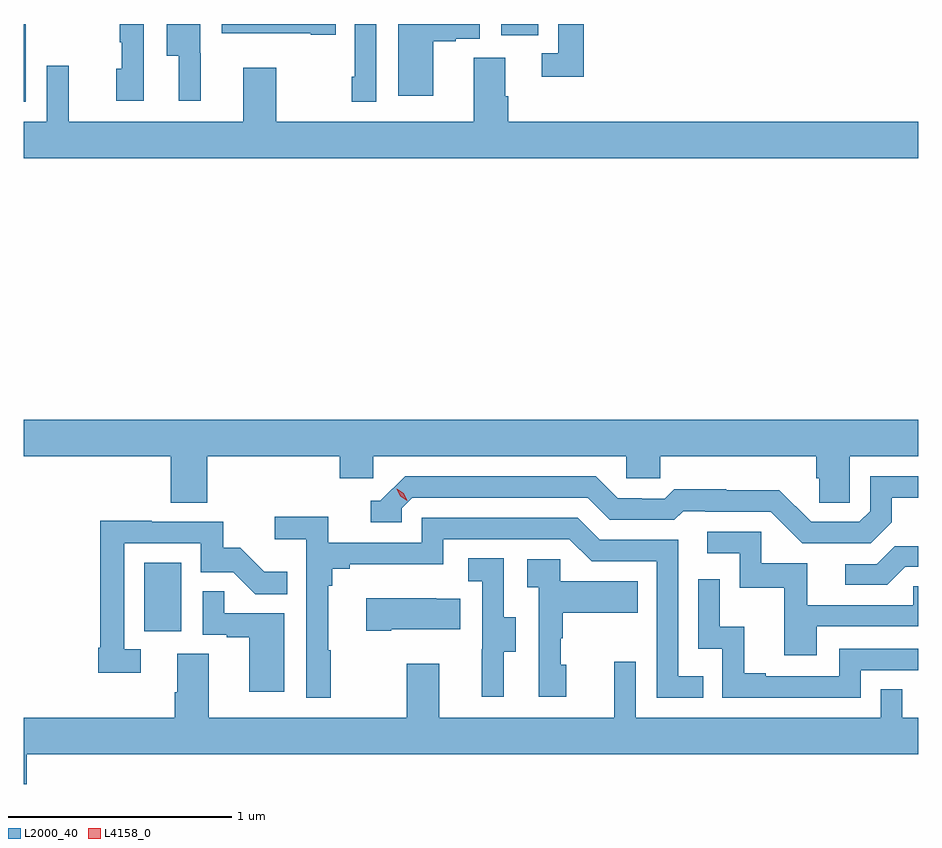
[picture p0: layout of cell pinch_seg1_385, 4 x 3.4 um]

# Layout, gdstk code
import gdstk
lib = gdstk.Library(unit=1e-6, precision=1e-09)
def R(c, l, rs):  # rectangles x0, y0, x1, y1
    for r in rs: c.add(gdstk.rectangle(r[:2], r[2:], *l))
def P(c, l, *ps):  # polygons
    for p in ps: c.add(gdstk.Polygon(p, *l))
L2000_40 = (2000, 40)
L4158_0 = (4158, 0)

pinch_seg1_385 = lib.new_cell('pinch_seg1_385')
R(pinch_seg1_385, L2000_40, [(986.276,532.302,986.44,532.609), (985.736,534.669,985.746,535.016), (987.872,534.966,988.036,535.016)])
P(pinch_seg1_385, L2000_40, [(986.274,535.016),(986.166,535.016),(986.166,534.935),(986.176,534.935),(986.176,534.816),(986.15,534.816),(986.15,534.672),(986.274,534.672)],
  [(986.528,534.885),(986.526,534.885),(986.526,535.016),(986.375,535.016),(986.375,534.874),(986.429,534.874),(986.429,534.672),(986.528,534.672)],
  [(987.131,535.016),(986.623,535.016),(986.623,534.974),(987.02,534.974),(987.02,534.967),(987.131,534.967)],
  [(987.568,534.939),(987.668,534.939),(987.668,534.951),(987.774,534.951),(987.774,535.016),(987.41,535.016),(987.41,534.696),(987.568,534.696)],
  [(987.312,535.016),(987.216,535.016),(987.216,534.781),(987.204,534.781),(987.204,534.669),(987.312,534.669)],
  [(988.241,535.016),(988.125,535.016),(988.125,534.885),(988.053,534.885),(988.053,534.78),(988.241,534.78)],
  [(989.736,534.58),(987.902,534.58),(987.902,534.692),(987.889,534.692),(987.889,534.866),(987.749,534.866),(987.749,534.58),(986.865,534.58),(986.865,534.82),(986.717,534.82),(986.717,534.58),(985.937,534.58),(985.937,534.829),(985.839,534.829),(985.839,534.58),(985.736,534.58),(985.736,534.416),(989.736,534.416)],
  [(986.558,533.084),(987.149,533.084),(987.149,532.986),(987.3,532.986),(987.3,533.084),(988.431,533.084),(988.431,532.986),(988.581,532.986),(988.581,533.084),(989.279,533.084),(989.279,532.986),(989.293,532.986),(989.293,532.876),(989.43,532.876),(989.43,533.084),(989.736,533.084),(989.736,533.248),(985.736,533.248),(985.736,533.084),(986.393,533.084),(986.393,532.876),(986.558,532.876)],
  [(989.617,532.789),(989.617,532.899),(989.736,532.899),(989.736,532.995),(989.52,532.995),(989.52,532.839),(989.472,532.791),(989.256,532.791),(989.114,532.933),(988.878,532.933),(988.878,532.936),(988.645,532.936),(988.603,532.893),(988.5,532.893),(988.5,532.896),(988.393,532.896),(988.294,532.995),(987.441,532.995),(987.33,532.884),(987.287,532.884),(987.287,532.788),(987.426,532.788),(987.426,532.851),(987.474,532.899),(988.257,532.899),(988.356,532.8),(988.645,532.8),(988.684,532.839),(988.783,532.839),(988.783,532.836),(989.076,532.836),(989.217,532.695),(989.523,532.695)],
  [(987.109,532.217),(987.097,532.217),(987.097,532.505),(987.116,532.505),(987.116,532.582),(987.193,532.582),(987.193,532.601),(987.612,532.601),(987.612,532.713),(988.176,532.713),(988.275,532.614),(988.566,532.614),(988.566,532.005),(988.775,532.005),(988.775,532.101),(988.662,532.101),(988.662,532.71),(988.312,532.71),(988.213,532.809),(987.516,532.809),(987.516,532.698),(987.098,532.698),(987.098,532.814),(986.859,532.814),(986.859,532.712),(987,532.712),(987,532.005),(987.109,532.005)],
  [(986.26,532.221),(986.187,532.221),(986.187,532.695),(986.529,532.695),(986.529,532.566),(986.673,532.566),(986.771,532.468),(986.915,532.468),(986.915,532.567),(986.811,532.567),(986.704,532.674),(986.628,532.674),(986.628,532.791),(986.309,532.791),(986.309,532.796),(986.079,532.796),(986.079,532.228),(986.071,532.228),(986.071,532.116),(986.26,532.116)],
  [(989.281,532.323),(989.736,532.323),(989.736,532.503),(989.713,532.503),(989.713,532.419),(989.239,532.419),(989.239,532.605),(989.034,532.605),(989.034,532.746),(988.791,532.746),(988.791,532.65),(988.938,532.65),(988.938,532.497),(989.137,532.497),(989.137,532.194),(989.281,532.194)],
  [(989.677,532.59),(989.736,532.59),(989.736,532.682),(989.63,532.682),(989.55,532.602),(989.409,532.602),(989.409,532.509),(989.596,532.509)],
  [(987.883,532.21),(987.937,532.21),(987.937,532.365),(987.882,532.365),(987.882,532.628),(987.723,532.628),(987.723,532.525),(987.786,532.525),(987.786,532.221),(987.785,532.221),(987.785,532.008),(987.883,532.008)],
  [(988.162,532.152),(988.137,532.152),(988.137,532.271),(988.147,532.271),(988.147,532.385),(988.481,532.385),(988.481,532.525),(988.134,532.525),(988.134,532.623),(987.987,532.623),(987.987,532.499),(988.038,532.499),(988.038,532.008),(988.162,532.008)],
  [(989.478,532.128),(989.736,532.128),(989.736,532.224),(989.382,532.224),(989.382,532.101),(989.053,532.101),(989.053,532.114),(988.958,532.114),(988.958,532.322),(988.848,532.322),(988.848,532.534),(988.752,532.534),(988.752,532.224),(988.86,532.224),(988.86,532.005),(989.478,532.005)],
  [(986.902,532.383),(986.633,532.383),(986.633,532.481),(986.538,532.481),(986.538,532.287),(986.645,532.287),(986.645,532.275),(986.744,532.275),(986.744,532.032),(986.902,532.032)],
  [(987.379,532.31),(987.689,532.31),(987.689,532.447),(987.581,532.447),(987.581,532.45),(987.267,532.45),(987.267,532.303),(987.379,532.303)],
  [(985.751,531.752),(989.736,531.752),(989.736,531.916),(989.664,531.916),(989.664,532.043),(989.568,532.043),(989.568,531.916),(988.473,531.916),(988.473,532.165),(988.376,532.165),(988.376,531.916),(987.595,531.916),(987.595,532.156),(987.448,532.156),(987.448,531.916),(986.563,531.916),(986.563,532.202),(986.423,532.202),(986.423,532.028),(986.411,532.028),(986.411,531.916),(985.736,531.916),(985.736,531.619),(985.751,531.619)])
P(pinch_seg1_385, L4158_0, [(987.451,532.886),(987.42,532.905),(987.404,532.938),(987.404,532.938),(987.404,532.938),(987.435,532.919),(987.451,532.886),(987.451,532.886)])

lib.write_gds('pinch_seg1_385.gds')
